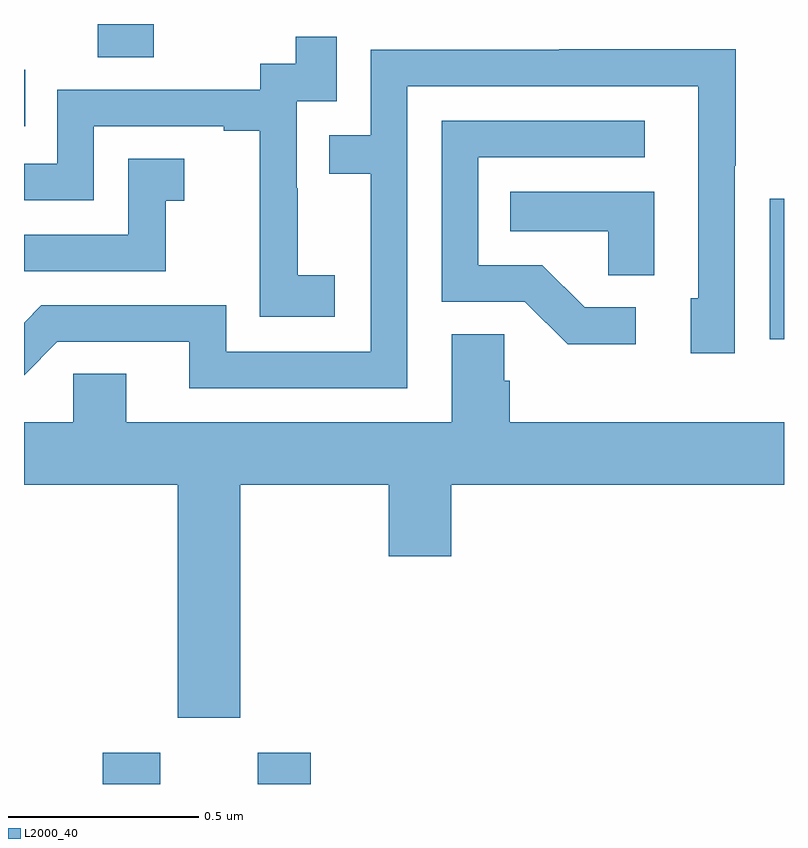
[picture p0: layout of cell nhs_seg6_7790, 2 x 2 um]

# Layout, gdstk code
import gdstk
lib = gdstk.Library(unit=1e-6, precision=1e-09)
def R(c, l, rs):  # rectangles x0, y0, x1, y1
    for r in rs: c.add(gdstk.rectangle(r[:2], r[2:], *l))
def P(c, l, *ps):  # polygons
    for p in ps: c.add(gdstk.Polygon(p, *l))
L2000_40 = (2000, 40)

nhs_seg6_7790 = lib.new_cell('nhs_seg6_7790')
R(nhs_seg6_7790, L2000_40, [(212.207,994.5,212.359,994.582), (212.615,994.5,212.755,994.582), (213.963,995.67,214,996.04), (212,996.231,212.003,996.379), (212.194,996.412,212.341,996.5)])
P(nhs_seg6_7790, L2000_40, [(212.818,995.839),(212.72,995.839),(212.72,996.068),(212.718,996.068),(212.718,996.297),(212.823,996.297),(212.823,996.466),(212.715,996.466),(212.715,996.396),(212.622,996.396),(212.622,996.327),(212.088,996.327),(212.088,996.132),(212,996.132),(212,996.036),(212.184,996.036),(212.184,996.231),(212.525,996.231),(212.525,996.219),(212.621,996.219),(212.621,995.935),(212.62,995.935),(212.62,995.729),(212.818,995.729)],
  [(213.009,996.336),(213.774,996.336),(213.774,995.778),(213.755,995.778),(213.755,995.634),(213.87,995.634),(213.87,996.127),(213.873,996.127),(213.873,996.434),(213.409,996.434),(213.409,996.432),(212.913,996.432),(212.913,996.207),(212.803,996.207),(212.803,996.106),(212.913,996.106),(212.913,995.637),(212.532,995.637),(212.532,995.76),(212.046,995.76),(212,995.714),(212,995.576),(212.088,995.664),(212.435,995.664),(212.435,995.541),(213.009,995.541)],
  [(213.61,995.754),(213.475,995.754),(213.364,995.865),(213.195,995.865),(213.195,996.15),(213.634,996.15),(213.634,996.246),(213.099,996.246),(213.099,995.769),(213.318,995.769),(213.431,995.657),(213.61,995.657)],
  [(212.373,996.035),(212.422,996.035),(212.422,996.145),(212.274,996.145),(212.274,995.946),(212,995.946),(212,995.85),(212.373,995.85)],
  [(213.658,996.058),(213.28,996.058),(213.28,995.954),(213.537,995.954),(213.537,995.839),(213.658,995.839)],
  [(212.569,995.288),(212.96,995.288),(212.96,995.1),(213.124,995.1),(213.124,995.288),(214,995.288),(214,995.452),(213.278,995.452),(213.278,995.561),(213.264,995.561),(213.264,995.684),(213.125,995.684),(213.125,995.452),(212.269,995.452),(212.269,995.579),(212.13,995.579),(212.13,995.452),(212,995.452),(212,995.288),(212.405,995.288),(212.405,994.674),(212.569,994.674)])

lib.write_gds('nhs_seg6_7790.gds')
